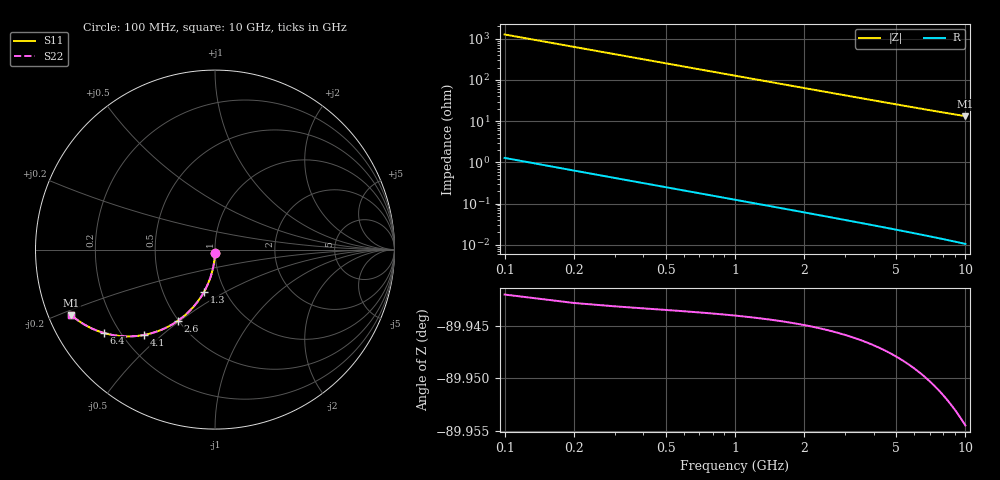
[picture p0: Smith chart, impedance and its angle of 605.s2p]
# Hz S RI R 50.00
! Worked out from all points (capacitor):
!   100 points, 100 MHz to 10 GHz, reference 50 ohm
!   read as one part in shunt: C = 1.25 pF near 100 MHz
!   lowest |Z| = 13.2 ohm at 10 GHz (marker M1)
!   S11 on the Smith chart (normalised r, x): 100 MHz: 1.00, -0.04; 1.3 GHz: 0.80, -0.40; 2.6 GHz: 0.49, -0.49; 4.1 GHz: 0.28, -0.44; 6.4 GHz: 0.14, -0.33; 10 GHz: 0.07, -0.22
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1e8  -0.000311 -0.0194  0.9995 -0.02  0.9995 -0.02  -0.000311 -0.0194
2e8  -0.00149 -0.0387  0.9983 -0.0399  0.9983 -0.0399  -0.00149 -0.0387
3e8  -0.00343 -0.0579  0.9964 -0.0598  0.9964 -0.0598  -0.00343 -0.0579
4e8  -0.00614 -0.077  0.9937 -0.0795  0.9937 -0.0795  -0.00614 -0.077
5e8  -0.00959 -0.0959  0.9902 -0.099  0.9902 -0.099  -0.00959 -0.0959
6e8  -0.0138 -0.1146  0.986 -0.1183  0.986 -0.1183  -0.0138 -0.1146
7e8  -0.0187 -0.133  0.9811 -0.1374  0.9811 -0.1374  -0.0187 -0.133
8e8  -0.0242 -0.1511  0.9756 -0.1561  0.9756 -0.1561  -0.0242 -0.1511
1e9  -0.0374 -0.1863  0.9624 -0.1926  0.9624 -0.1926  -0.0374 -0.1863
1.3e9  -0.0616 -0.236  0.9382 -0.2442  0.9382 -0.2442  -0.0616 -0.236
1.5e9  -0.0804 -0.2668  0.9194 -0.2763  0.9194 -0.2763  -0.0804 -0.2668
1.8e9  -0.1118 -0.3091  0.8879 -0.3205  0.8879 -0.3205  -0.1118 -0.3091
2.2e9  -0.1583 -0.3578  0.8414 -0.3716  0.8414 -0.3716  -0.1583 -0.3578
2.6e9  -0.2082 -0.3974  0.7915 -0.4138  0.7915 -0.4138  -0.2082 -0.3974
3.4e9  -0.3106 -0.4515  0.689 -0.4731  0.689 -0.4731  -0.3106 -0.4515
4.1e9  -0.3963 -0.4756  0.6032 -0.5017  0.6032 -0.5017  -0.3963 -0.4756
5.1e9  -0.5048 -0.4832  0.4945 -0.5157  0.4945 -0.5157  -0.5048 -0.4832
6.4e9  -0.6175 -0.4648  0.3814 -0.5059  0.3814 -0.5059  -0.6175 -0.4648
6.7e9  -0.6392 -0.458  0.3596 -0.5011  0.3596 -0.5011  -0.6392 -0.458
7.5e9  -0.6903 -0.4373  0.3083 -0.4858  0.3083 -0.4858  -0.6903 -0.4373
8.4e9  -0.7376 -0.4117  0.2607 -0.4662  0.2607 -0.4662  -0.7376 -0.4117
1e10  -0.8009 -0.365  0.1967 -0.4307  0.1967 -0.4307  -0.8009 -0.365
